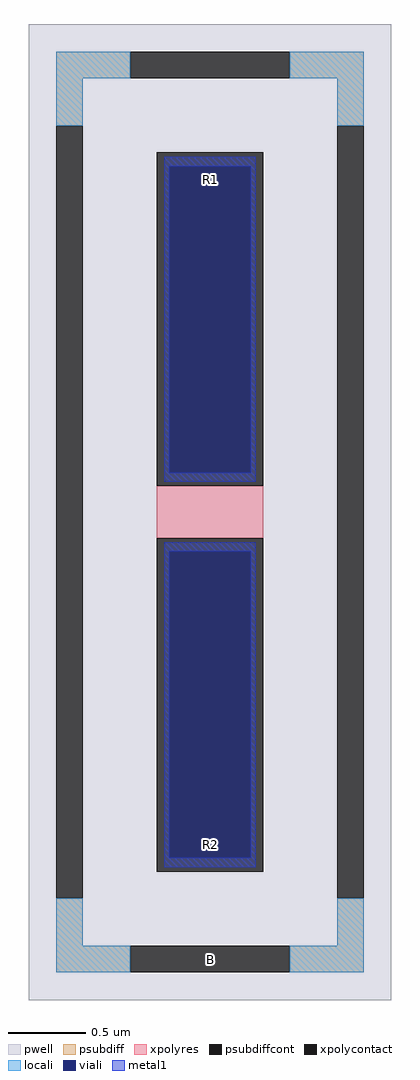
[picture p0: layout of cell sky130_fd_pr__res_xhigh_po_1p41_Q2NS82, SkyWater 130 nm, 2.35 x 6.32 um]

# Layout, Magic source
magic
tech sky130A
magscale 1 2
<< pwell >>
rect -235 -632 235 632
<< psubdiff >>
rect -199 562 -103 596
rect 103 562 199 596
rect -199 500 -165 562
rect 165 500 199 562
rect -199 -562 -165 -500
rect 165 -562 199 -500
rect -199 -596 -103 -562
rect 103 -596 199 -562
<< psubdiffcont >>
rect -103 562 103 596
rect -199 -500 -165 500
rect 165 -500 199 500
rect -103 -596 103 -562
<< xpolycontact >>
rect -69 34 69 466
rect -69 -466 69 -34
<< xpolyres >>
rect -69 -34 69 34
<< locali >>
rect -199 562 -103 596
rect 103 562 199 596
rect -199 500 -165 562
rect 165 500 199 562
rect -199 -562 -165 -500
rect 165 -562 199 -500
rect -199 -596 -103 -562
rect 103 -596 199 -562
<< viali >>
rect -53 51 53 448
rect -53 -448 53 -51
<< metal1 >>
rect -59 448 59 460
rect -59 51 -53 448
rect 53 51 59 448
rect -59 39 59 51
rect -59 -51 59 -39
rect -59 -448 -53 -51
rect 53 -448 59 -51
rect -59 -460 59 -448
<< labels >>
rlabel psubdiffcont 0 -579 0 -579 0 B
port 1 nsew
rlabel xpolycontact 0 431 0 431 0 R1
port 2 nsew
rlabel xpolycontact 0 -431 0 -431 0 R2
port 3 nsew
<< properties >>
string FIXED_BBOX -182 -579 182 579
string gencell sky130_fd_pr__res_xhigh_po_1p41
string library sky130
string parameters w 0.690 l 0.50 m 1 nx 1 wmin 0.690 lmin 0.50 class resistor rho 2000 val 1.994k dummy 0 dw 0.0 term 188.2 sterm 0.0 caplen 0 wmax 0.690 guard 1 glc 1 grc 1 gtc 1 gbc 1 compatible {sky130_fd_pr__res_xhigh_po_0p35  sky130_fd_pr__res_xhigh_po_0p69 sky130_fd_pr__res_xhigh_po_1p41  sky130_fd_pr__res_xhigh_po_2p85 sky130_fd_pr__res_xhigh_po_5p73} snake 0 full_metal 1 n_guard 0 hv_guard 0 vias 1 viagb 0 viagt 0 viagl 0 viagr 0 doports 1
<< end >>
